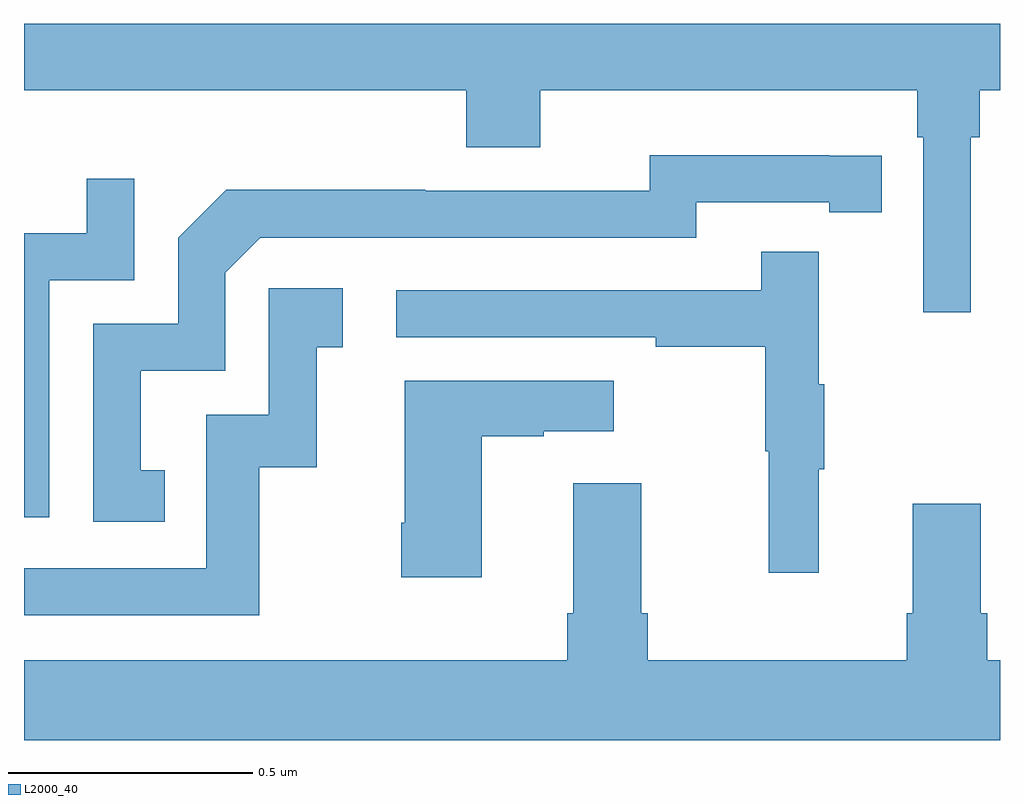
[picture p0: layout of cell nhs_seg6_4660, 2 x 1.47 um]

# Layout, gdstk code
import gdstk
lib = gdstk.Library(unit=1e-6, precision=1e-09)
def P(c, l, *ps):  # polygons
    for p in ps: c.add(gdstk.Polygon(p, *l))
L2000_40 = (2000, 40)

nhs_seg6_4660 = lib.new_cell('nhs_seg6_4660')
P(nhs_seg6_4660, L2000_40, [(174.94,919.268),(174.959,919.268),(174.959,919.364),(175,919.364),(175,919.5),(173,919.5),(173,919.364),(173.906,919.364),(173.906,919.247),(174.058,919.247),(174.058,919.364),(174.83,919.364),(174.83,919.268),(174.843,919.268),(174.843,918.909),(174.94,918.909)],
  [(173.288,918.585),(173.239,918.585),(173.239,918.789),(173.412,918.789),(173.412,918.99),(173.484,919.062),(174.378,919.062),(174.378,919.134),(174.65,919.134),(174.65,919.114),(174.758,919.114),(174.758,919.23),(174.65,919.23),(174.65,919.231),(174.282,919.231),(174.282,919.158),(173.822,919.158),(173.822,919.16),(173.414,919.16),(173.316,919.062),(173.316,918.885),(173.142,918.885),(173.142,918.48),(173.288,918.48)],
  [(173.052,918.975),(173.226,918.975),(173.226,919.183),(173.129,919.183),(173.129,919.071),(173,919.071),(173,918.489),(173.052,918.489)],
  [(174.629,918.587),(174.64,918.587),(174.64,918.761),(174.629,918.761),(174.629,919.033),(174.511,919.033),(174.511,918.954),(173.763,918.954),(173.763,918.858),(174.295,918.858),(174.295,918.838),(174.519,918.838),(174.519,918.624),(174.526,918.624),(174.526,918.375),(174.629,918.375)],
  [(173.482,918.591),(173.6,918.591),(173.6,918.837),(173.653,918.837),(173.653,918.958),(173.502,918.958),(173.502,918.699),(173.373,918.699),(173.373,918.384),(173,918.384),(173,918.288),(173.482,918.288)],
  [(173.938,918.655),(174.065,918.655),(174.065,918.665),(174.208,918.665),(174.208,918.769),(173.78,918.769),(173.78,918.478),(173.773,918.478),(173.773,918.366),(173.938,918.366)],
  [(175,918.196),(174.974,918.196),(174.974,918.292),(174.961,918.292),(174.961,918.517),(174.821,918.517),(174.821,918.292),(174.809,918.292),(174.809,918.196),(174.278,918.196),(174.278,918.292),(174.265,918.292),(174.265,918.559),(174.125,918.559),(174.125,918.292),(174.113,918.292),(174.113,918.196),(173,918.196),(173,918.032),(175,918.032)])

lib.write_gds('nhs_seg6_4660.gds')
